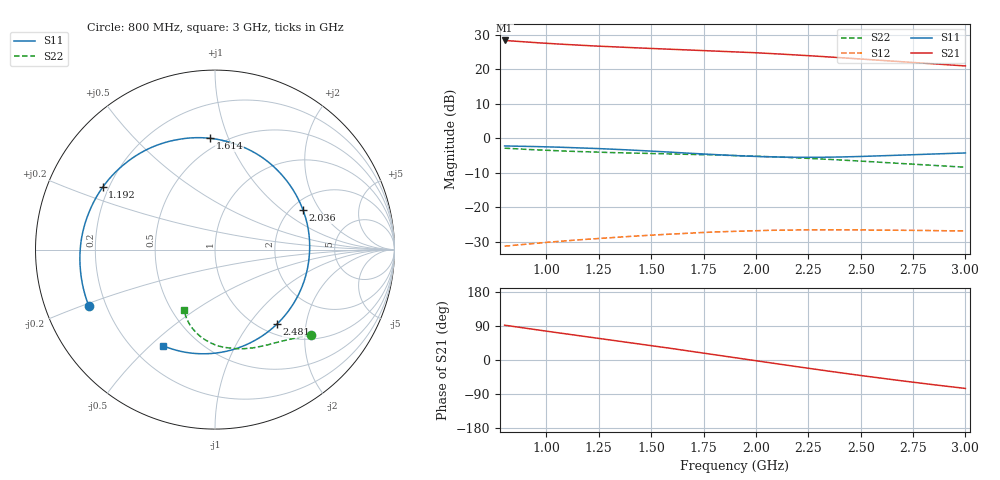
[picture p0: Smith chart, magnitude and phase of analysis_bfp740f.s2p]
# HZ S RI R 50
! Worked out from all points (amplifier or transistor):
!   501 points, 800 MHz to 3 GHz, reference 50 ohm
!   highest |S21| = 28.3 dB at 800 MHz (marker M1)
!   |S21| within 3 dB of that: start of sweep to 1.786 GHz
!   unconditionally stable (mu >= 1): nowhere
!   at 1.165 GHz: K = 0.27, MSG = 28.2 dB, |S12| = -29.5 dB
!   at 1.9 GHz: K = 0.41, MSG = 26.0 dB, |S12| = -27.0 dB
!   at 3 GHz: K = 0.59, MSG = 23.9 dB, |S12| = -26.9 dB
!   lowest NFmin = 0.02 dB at 800 MHz
!   S11 on the Smith chart (normalised r, x): 800 MHz: 0.14, -0.21; 1.192 GHz: 0.18, +0.25; 1.614 GHz: 0.43, +0.86; 2.036 GHz: 2.31, +1.43; 2.481 GHz: 1.18, -1.38; 3 GHz: 0.32, -0.55
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8e8  -0.7034 -0.3131  -0.8468 26.08  0.0264 0.00593  0.5331 -0.4756
8.88e8  -0.7454 -0.1527  2.259 24.88  0.0285 0.00325  0.4921 -0.4837
9.892e8  -0.7484 0.0283  5.397 23.2  0.0306 -0.000359  0.4509 -0.4929
1.086e9  -0.7085 0.1913  8.021 21.44  0.0321 -0.00407  0.4135 -0.5003
1.1696e9  -0.6466 0.3165  10.02 19.77  0.0329 -0.00738  0.3829 -0.5079
1.1916e9  -0.6261 0.3471  10.51 19.3  0.0331 -0.00829  0.3747 -0.5099
1.2796e9  -0.5293 0.4554  12.32 17.44  0.0334 -0.0121  0.3429 -0.5173
1.35e9  -0.4381 0.5246  13.57 15.87  0.0334 -0.0153  0.3177 -0.5244
1.4468e9  -0.2964 0.5912  15.05 13.61  0.0329 -0.0197  0.2824 -0.5333
1.5348e9  -0.1564 0.6204  16.16 11.44  0.0317 -0.0238  0.2487 -0.5406
1.614e9  -0.0272 0.6201  16.94 9.419  0.0301 -0.0274  0.2168 -0.5466
1.7636e9  0.2034 0.5494  17.75 5.548  0.0262 -0.0341  0.1551 -0.5525
1.9e9  0.3767 0.4111  17.74 2.005  0.021 -0.0392  0.096 -0.5496
1.966e9  0.4405 0.3238  17.5 0.3305  0.018 -0.0414  0.0667 -0.5468
2.0364e9  0.4907 0.2199  17.02 -1.398  0.0145 -0.0434  0.0349 -0.5409
2.1508e9  0.5271 0.039  15.87 -3.952  0.00835 -0.0456  -0.0129 -0.5249
2.2696e9  0.5057 -0.1452  14.31 -6.168  0.00174 -0.0467  -0.0554 -0.5023
2.3752e9  0.4421 -0.2931  12.68 -7.771  -0.00387 -0.0466  -0.0871 -0.479
2.4808e9  0.3458 -0.4143  10.94 -9.006  -0.00939 -0.0457  -0.1134 -0.4534
2.6348e9  0.1655 -0.5337  8.374 -10.18  -0.0167 -0.0432  -0.1418 -0.4158
2.8064e9  -0.0568 -0.5804  5.624 -10.78  -0.0237 -0.0391  -0.1615 -0.3761
3e9  -0.2898 -0.5352  2.878 -10.76  -0.03 -0.0334  -0.1719 -0.3368
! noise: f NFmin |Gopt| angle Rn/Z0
8e+08  0.02025  0.1065  -180  0.001883
1.042e+09  0.02405  0.1065  180  0.002236
1.288e+09  0.0277  0.1066  180  0.002575
1.53e+09  0.03111  0.1066  180  0.002893
1.777e+09  0.03447  0.1066  180  0.003204
2.019e+09  0.03766  0.1066  180  0.003501
2.265e+09  0.04084  0.1066  -180  0.003796
2.507e+09  0.04389  0.1066  -180  0.00408
2.754e+09  0.04693  0.1066  -180  0.004363
3e+09  0.04993  0.1066  180  0.004642
